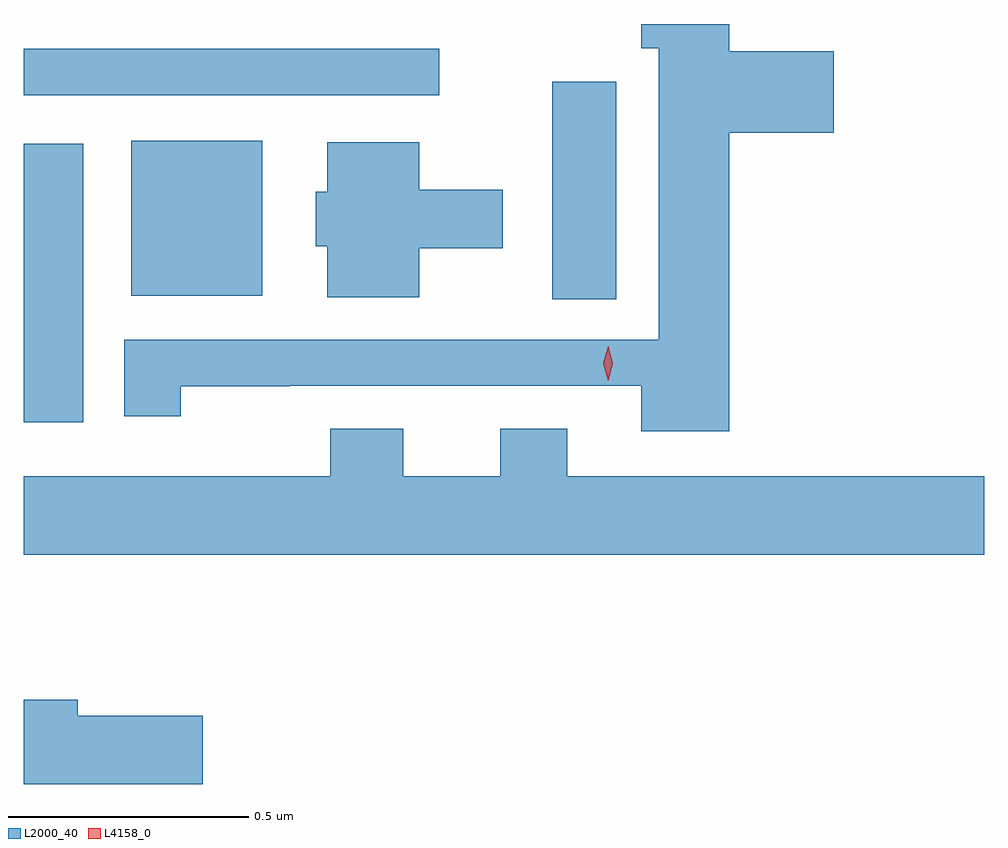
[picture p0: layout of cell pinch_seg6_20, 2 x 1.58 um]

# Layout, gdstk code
import gdstk
lib = gdstk.Library(unit=1e-6, precision=1e-09)
def R(c, l, rs):  # rectangles x0, y0, x1, y1
    for r in rs: c.add(gdstk.rectangle(r[:2], r[2:], *l))
def P(c, l, *ps):  # polygons
    for p in ps: c.add(gdstk.Polygon(p, *l))
L2000_40 = (2000, 40)
L4158_0 = (4158, 0)

pinch_seg6_20 = lib.new_cell('pinch_seg6_20')
R(pinch_seg6_20, L2000_40, [(960.12,962.264,960.244,962.845), (961.22,962.521,961.354,962.974), (960.344,962.528,960.616,962.851), (960.12,962.946,960.985,963.042)])
P(pinch_seg6_20, L2000_40, [(961.589,962.867),(961.807,962.867),(961.807,963.037),(961.589,963.037),(961.589,963.094),(961.406,963.094),(961.406,963.044),(961.442,963.044),(961.442,962.436),(960.329,962.436),(960.329,962.277),(960.447,962.277),(960.447,962.339),(960.674,962.339),(960.674,962.34),(961.406,962.34),(961.406,962.246),(961.589,962.246)],
  [(960.943,962.627),(961.117,962.627),(961.117,962.749),(960.943,962.749),(960.943,962.848),(960.752,962.848),(960.752,962.745),(960.728,962.745),(960.728,962.631),(960.752,962.631),(960.752,962.525),(960.943,962.525)],
  [(962.12,962.152),(961.252,962.152),(961.252,962.251),(961.112,962.251),(961.112,962.152),(960.91,962.152),(960.91,962.251),(960.758,962.251),(960.758,962.152),(960.12,962.152),(960.12,961.988),(962.12,961.988)],
  [(960.493,961.653),(960.232,961.653),(960.232,961.687),(960.12,961.687),(960.12,961.511),(960.493,961.511)])
P(pinch_seg6_20, L4158_0, [(961.337,962.351),(961.337,962.351),(961.327,962.387),(961.337,962.423),(961.337,962.423),(961.337,962.423),(961.347,962.387),(961.337,962.351)])

lib.write_gds('pinch_seg6_20.gds')
